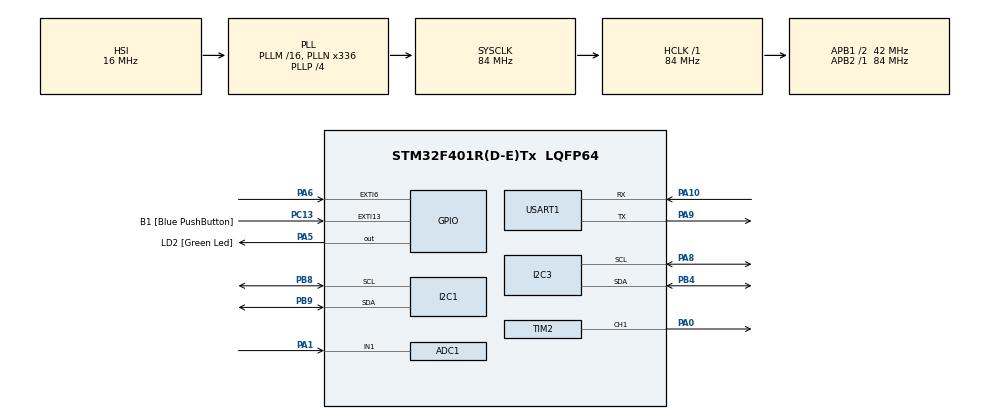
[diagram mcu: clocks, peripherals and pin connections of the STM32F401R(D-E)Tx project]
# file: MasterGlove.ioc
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ADC1.Channel-0\#ChannelRegularConversion=ADC_CHANNEL_1
ADC1.NbrOfConversionFlag=1
ADC1.Rank-0\#ChannelRegularConversion=1
ADC1.SamplingTime-0\#ChannelRegularConversion=ADC_SAMPLETIME_3CYCLES
ADC1.master=1
Mcu.Family=STM32F4
Mcu.Name=STM32F401R(D-E)Tx
Mcu.Package=LQFP64
NVIC.EXTI15_10_IRQn=true\:0\:0\:false\:false\:true\:true\:true
NVIC.EXTI9_5_IRQn=true\:0\:0\:false\:false\:true\:true\:true
NVIC.PriorityGroup=NVIC_PRIORITYGROUP_0
NVIC.TIM1_TRG_COM_TIM11_IRQn=true\:0\:0\:false\:false\:true\:true\:true
NVIC.USART1_IRQn=true\:0\:0\:false\:false\:true\:true\:true
PA0-WKUP.Signal=S_TIM2_CH1_ETR
PA1.Signal=ADCx_IN1
PA10.Mode=Asynchronous
PA10.Signal=USART1_RX
PA13.GPIO_Label=TMS
PA13.Mode=Serial_Wire
PA13.Signal=SYS_JTMS-SWDIO
PA14.GPIO_Label=TCK
PA14.Mode=Serial_Wire
PA14.Signal=SYS_JTCK-SWCLK
PA2.GPIO_Label=USART_TX
PA2.GPIO_Mode=GPIO_MODE_AF_PP
PA2.GPIO_PuPd=GPIO_NOPULL
PA2.GPIO_Speed=GPIO_SPEED_FREQ_LOW
PA2.Signal=USART2_TX
PA3.GPIO_Label=USART_RX
PA3.GPIO_Mode=GPIO_MODE_AF_PP
PA3.GPIO_PuPd=GPIO_NOPULL
PA3.GPIO_Speed=GPIO_SPEED_FREQ_LOW
PA3.Signal=USART2_RX
PA5.GPIO_Label=LD2 [Green Led]
PA5.GPIO_Mode=GPIO_MODE_OUTPUT_PP
PA5.GPIO_PuPd=GPIO_NOPULL
PA5.GPIO_Speed=GPIO_SPEED_FREQ_LOW
PA5.Signal=GPIO_Output
PA6.Signal=GPXTI6
PA8.Mode=I2C
PA8.Signal=I2C3_SCL
PA9.Mode=Asynchronous
PA9.Signal=USART1_TX
PB3.GPIO_Label=SWO
PB3.Signal=SYS_JTDO-SWO
PB4.Mode=I2C
PB4.Signal=I2C3_SDA
PB8.Mode=I2C
PB8.Signal=I2C1_SCL
PB9.Mode=I2C
PB9.Signal=I2C1_SDA
PC13-ANTI_TAMP.GPIO_Label=B1 [Blue PushButton]
PC13-ANTI_TAMP.GPIO_ModeDefaultEXTI=GPIO_MODE_IT_FALLING
PC13-ANTI_TAMP.GPIO_PuPd=GPIO_NOPULL
PC13-ANTI_TAMP.Signal=GPXTI13
PC14-OSC32_IN.Mode=LSE-External-Oscillator
PC14-OSC32_IN.Signal=RCC_OSC32_IN
PC15-OSC32_OUT.Mode=LSE-External-Oscillator
PC15-OSC32_OUT.Signal=RCC_OSC32_OUT
PH0\ -\ OSC_IN.Mode=HSE-External-Clock-Source
PH0\ -\ OSC_IN.Signal=RCC_OSC_IN
PH1\ -\ OSC_OUT.Mode=HSE-External-Clock-Source
PH1\ -\ OSC_OUT.Signal=RCC_OSC_OUT
ProjectManager.HeapSize=0x200
ProjectManager.StackSize=0x400
ProjectManager.TargetToolchain=STM32CubeIDE
RCC.48MHZClocksFreq_Value=48000000
RCC.AHBFreq_Value=84000000
RCC.APB1CLKDivider=RCC_HCLK_DIV2
RCC.APB1Freq_Value=42000000
RCC.APB1TimFreq_Value=84000000
RCC.APB2Freq_Value=84000000
RCC.APB2TimFreq_Value=84000000
RCC.CortexFreq_Value=84000000
RCC.HCLKFreq_Value=84000000
RCC.HSE_VALUE=8000000
RCC.HSI_VALUE=16000000
RCC.PLLN=336
RCC.PLLP=RCC_PLLP_DIV4
RCC.PLLQ=7
RCC.SYSCLKFreq_VALUE=84000000
RCC.SYSCLKSource=RCC_SYSCLKSOURCE_PLLCLK
RCC.VCOOutputFreq_Value=336000000
SH.ADCx_IN1.0=ADC1_IN1,IN1
SH.S_TIM2_CH1_ETR.0=TIM2_CH1,PWM Generation1 CH1
TIM11.AutoReloadPreload=TIM_AUTORELOAD_PRELOAD_ENABLE
TIM11.Period=10000
TIM11.Prescaler=839
TIM2.Channel-PWM\ Generation1\ CH1=TIM_CHANNEL_1
TIM2.Period=249
TIM2.Prescaler=83
TIM5.Channel-Output\ Compare2\ No\ Output=TIM_CHANNEL_2
TIM5.Period=1999999
TIM5.Prescaler=83
USART1.VirtualMode=VM_ASYNC
VP_TIM11_VS_ClockSourceINT.Mode=Enable_Timer
VP_TIM5_VS_no_output2.Mode=Output Compare2 No Output
board=NUCLEO-F401RE

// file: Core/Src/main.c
/* USER CODE BEGIN Header */
/**
  ******************************************************************************
  * @file           : main.c
  * @brief          : Main program body
  ******************************************************************************
  * @attention
  *
  * <h2><center>&copy; Copyright (c) 2021 STMicroelectronics.
  * All rights reserved.</center></h2>
  *
  * This software component is licensed by ST under BSD 3-Clause license,
  * the "License"; You may not use this file except in compliance with the
  * License. You may obtain a copy of the License at:
  *                        opensource.org/licenses/BSD-3-Clause
  *
  ******************************************************************************
  */
/* USER CODE END Header */
#include "main.h"

/* USER CODE BEGIN Includes */
#include "imu.h"
#include "hand_control.h"
#include "piezo.h"
#include "lcd.h"
#include "joystick.h"

/* USER CODE END Includes */

ADC_HandleTypeDef hadc1;

I2C_HandleTypeDef hi2c1;
I2C_HandleTypeDef hi2c3;

TIM_HandleTypeDef htim2;
TIM_HandleTypeDef htim5;
TIM_HandleTypeDef htim11;

UART_HandleTypeDef huart1;

void SystemClock_Config(void);
static void MX_GPIO_Init(void);
static void MX_I2C1_Init(void);
static void MX_TIM11_Init(void);
static void MX_USART1_UART_Init(void);
static void MX_TIM2_Init(void);
static void MX_I2C3_Init(void);
static void MX_TIM5_Init(void);
static void MX_ADC1_Init(void);

/* USER CODE BEGIN 0 */
IMU_DATA imu;
static char livesRemaining = '3';
static uint8_t cooldown = 0;
static uint8_t gameOver = 0;

int8_t button_val = 0;
uint8_t Rx_data[4];

// Displays current lives remaining on LCD
void displayLives() {
	lcd_clear();

	char lives[] = "...Lives";
	lcd_transmit_string(lives);

	lcd_set_cursor(0, 1);
	char remaining[] = "Remaining: ";
	lcd_transmit_string(remaining);

	lcd_set_cursor(11, 1);
	lcd_transmit_char(livesRemaining);
}

// Displays "HIT" on LCD
void displayHit() {
	lcd_clear();

	char firstLine[] = "...  You've been";
	lcd_transmit_string(firstLine);

	lcd_set_cursor(6, 1);
	char remaining[] = "hit!";
	lcd_transmit_string(remaining);
}

// Displays "GAME OVER" on LCD
void displayGameOver() {
	lcd_clear();

	char firstLine[] = "...      GAME";
	lcd_transmit_string(firstLine);

	lcd_set_cursor(6, 1);
	char remaining[] = "OVER!";
	lcd_transmit_string(remaining);
}

// Joystick Button Interrupt
void HAL_GPIO_EXTI_Callback(uint16_t pin) {
	if (pin == GPIO_PIN_6 && !cooldown && !gameOver) {
		button_val = 1;
		playFireSound();
	}
	// Blue Button For Testing
	if (pin == GPIO_PIN_13) {
		//playVictors();
		gameOver = 0;
		livesRemaining = '3';
		displayLives();
	}
}

void HAL_UART_RxCpltCallback(UART_HandleTypeDef *huart)
{
	//HAL_UART_Receive_IT(&huart1, Rx_data, 1);

	// Send to terminal for debugging
	//char buf[2];
	//HAL_UART_Transmit(&huart2, (uint8_t*)buf, sprintf(buf, "%d\r\n", Rx_data[0]), HAL_MAX_DELAY);

	// HIT ON ROBOT
	if(Rx_data[0] && !gameOver){
		// What happens when robot gets hit?

		// 0) Set cooldown bit (start TIMER)
		cooldown = 1;
		HAL_TIM_Base_Start_IT(&htim5);

		// 1) Change LCD screen to say "HIT"
		displayHit();
		--livesRemaining;

		// 2) Play hit sound
		playHitSound();

		// Check to see if game over
		if (livesRemaining == '0') {
			// Death sequence
			displayGameOver();
			playDeathSound();
			gameOver = 1;
		}
		else {
			// Display lives remaining
			displayLives();
		}
	}
}

// TIM11 CALLBACK -- for sending data
void HAL_TIM_PeriodElapsedCallback(TIM_HandleTypeDef *htim){
	// What to do when we want to send a message
	if(htim == &htim11){
		imu_read_accel(&imu);

		int16_t x = imu.ax_raw;
		int16_t y = imu.ay_raw;
		int16_t z = imu.az_raw;

		uint8_t magnitude = getMagnitude(x, y, z);
		float *direction = getDirection(x, y);

		int8_t *motor_cmds = getMotorVels(magnitude, direction);

		int8_t buf[7];

		buf[0] = button_val;
		buf[1] = motor_cmds[0] + 10;
		buf[2] = motor_cmds[1] + 10;
		buf[3] = motor_cmds[2] + 10;
		buf[4] = motor_cmds[3] + 10;
		buf[5] = cooldown;
		buf[6] = get_joystick_position();

		if (gameOver) {
			buf[0] = 0;
			buf[1] = 10;
			buf[2] = 10;
			buf[3] = 10;
			buf[4] = 10;
			buf[5] = 1;
			buf[6] = 1;
		}

		button_val = 0;
		//HAL_StatusTypeDef ret = HAL_UART_Transmit(&huart2, (uint8_t*)buf, 6, HAL_MAX_DELAY);
		HAL_StatusTypeDef ret = HAL_UART_Transmit(&huart1, (uint8_t *)buf, 7, HAL_MAX_DELAY);
		uint8_t x2 = 10;

	}
	else if (htim == &htim5) {
		cooldown = 0;
	}
}

/* USER CODE END 0 */

int main(void)
{

  /* MCU Configuration--------------------------------------------------------*/

  /* Reset of all peripherals, Initializes the Flash interface and the Systick. */
  HAL_Init();

  /* Configure the system clock */
  SystemClock_Config();

  /* Initialize all configured peripherals */
  MX_GPIO_Init();
  MX_I2C1_Init();
  MX_TIM11_Init();
  MX_USART1_UART_Init();
  MX_TIM2_Init();
  MX_I2C3_Init();
  MX_TIM5_Init();
  MX_ADC1_Init();
  /* USER CODE BEGIN 2 */
//  HAL_NVIC_SetPriority(USART1_IRQN, 0, 0);
//  HAL_NVIC_EnableIRQ(USART1_IRQN);

  // Start UART Receiving interrupt
  //HAL_UART_Receive_IT(&huart1, Rx_data, 1);

  I2C_Module i2c_mod;
  i2c_mod.instance = hi2c1;
  i2c_mod.sdaPin = GPIO_PIN_9;
  i2c_mod.sdaPort = GPIOB;
  i2c_mod.sclPin = GPIO_PIN_8;
  i2c_mod.sclPort = GPIOB;
  while (imu_init(&hi2c1) == 1) {
    I2C_ClearBusyFlagErratum(&i2c_mod);
  }
  //pass pre-calculated offsets to imu

  //imu_calibrate(503, 582, 2049); // TAPE IMU OFFSETS
  imu_calibrate(182, 2834, 851); // NON-TAPE OFFSETS

  //initialize lcd
  lcd_init(&hi2c3);
  displayLives();

  // initialize piezo buzzer
  piezo_init(&htim2);

  // initialize joystick
  joystick_init(&hadc1);

  // Start xbee sending timer
  HAL_TIM_Base_Start_IT(&htim11);
  omni_init();

  /* USER CODE END 2 */

  /* Infinite loop */
  /* USER CODE BEGIN WHILE */
  while (1)
  {
	  //printf("hello\r\n");
	  //HAL_Delay(500);
    /* USER CODE END WHILE */

  }
}

void SystemClock_Config(void)
{
  RCC_OscInitTypeDef RCC_OscInitStruct = {0};
  RCC_ClkInitTypeDef RCC_ClkInitStruct = {0};

  /** Configure the main internal regulator output voltage
  */
  __HAL_RCC_PWR_CLK_ENABLE();
  __HAL_PWR_VOLTAGESCALING_CONFIG(PWR_REGULATOR_VOLTAGE_SCALE2);
  /** Initializes the RCC Oscillators according to the specified parameters
  * in the RCC_OscInitTypeDef structure.
  */
  RCC_OscInitStruct.OscillatorType = RCC_OSCILLATORTYPE_HSI;
  RCC_OscInitStruct.HSIState = RCC_HSI_ON;
  RCC_OscInitStruct.HSICalibrationValue = RCC_HSICALIBRATION_DEFAULT;
  RCC_OscInitStruct.PLL.PLLState = RCC_PLL_ON;
  RCC_OscInitStruct.PLL.PLLSource = RCC_PLLSOURCE_HSI;
  RCC_OscInitStruct.PLL.PLLM = 16;
  RCC_OscInitStruct.PLL.PLLN = 336;
  RCC_OscInitStruct.PLL.PLLP = RCC_PLLP_DIV4;
  RCC_OscInitStruct.PLL.PLLQ = 7;
  if (HAL_RCC_OscConfig(&RCC_OscInitStruct) != HAL_OK)
  {
    Error_Handler();
  }
  /** Initializes the CPU, AHB and APB buses clocks
  */
  RCC_ClkInitStruct.ClockType = RCC_CLOCKTYPE_HCLK|RCC_CLOCKTYPE_SYSCLK
                              |RCC_CLOCKTYPE_PCLK1|RCC_CLOCKTYPE_PCLK2;
  RCC_ClkInitStruct.SYSCLKSource = RCC_SYSCLKSOURCE_PLLCLK;
  RCC_ClkInitStruct.AHBCLKDivider = RCC_SYSCLK_DIV1;
  RCC_ClkInitStruct.APB1CLKDivider = RCC_HCLK_DIV2;
  RCC_ClkInitStruct.APB2CLKDivider = RCC_HCLK_DIV1;

  if (HAL_RCC_ClockConfig(&RCC_ClkInitStruct, FLASH_LATENCY_2) != HAL_OK)
  {
    Error_Handler();
  }
}

static void MX_ADC1_Init(void)
{

  ADC_ChannelConfTypeDef sConfig = {0};

  /** Configure the global features of the ADC (Clock, Resolution, Data Alignment and number of conversion)
  */
  hadc1.Instance = ADC1;
  hadc1.Init.ClockPrescaler = ADC_CLOCK_SYNC_PCLK_DIV4;
  hadc1.Init.Resolution = ADC_RESOLUTION_12B;
  hadc1.Init.ScanConvMode = DISABLE;
  hadc1.Init.ContinuousConvMode = DISABLE;
  hadc1.Init.DiscontinuousConvMode = DISABLE;
  hadc1.Init.ExternalTrigConvEdge = ADC_EXTERNALTRIGCONVEDGE_NONE;
  hadc1.Init.ExternalTrigConv = ADC_SOFTWARE_START;
  hadc1.Init.DataAlign = ADC_DATAALIGN_RIGHT;
  hadc1.Init.NbrOfConversion = 1;
  hadc1.Init.DMAContinuousRequests = DISABLE;
  hadc1.Init.EOCSelection = ADC_EOC_SINGLE_CONV;
  if (HAL_ADC_Init(&hadc1) != HAL_OK)
  {
    Error_Handler();
  }
  /** Configure for the selected ADC regular channel its corresponding rank in the sequencer and its sample time.
  */
  sConfig.Channel = ADC_CHANNEL_1;
  sConfig.Rank = 1;
  sConfig.SamplingTime = ADC_SAMPLETIME_3CYCLES;
  if (HAL_ADC_ConfigChannel(&hadc1, &sConfig) != HAL_OK)
  {
    Error_Handler();
  }

}

static void MX_I2C1_Init(void)
{

  hi2c1.Instance = I2C1;
  hi2c1.Init.ClockSpeed = 100000;
  hi2c1.Init.DutyCycle = I2C_DUTYCYCLE_2;
  hi2c1.Init.OwnAddress1 = 0;
  hi2c1.Init.AddressingMode = I2C_ADDRESSINGMODE_7BIT;
  hi2c1.Init.DualAddressMode = I2C_DUALADDRESS_DISABLE;
  hi2c1.Init.OwnAddress2 = 0;
  hi2c1.Init.GeneralCallMode = I2C_GENERALCALL_DISABLE;
  hi2c1.Init.NoStretchMode = I2C_NOSTRETCH_DISABLE;
  if (HAL_I2C_Init(&hi2c1) != HAL_OK)
  {
    Error_Handler();
  }

}

static void MX_I2C3_Init(void)
{

  hi2c3.Instance = I2C3;
  hi2c3.Init.ClockSpeed = 100000;
  hi2c3.Init.DutyCycle = I2C_DUTYCYCLE_2;
  hi2c3.Init.OwnAddress1 = 0;
  hi2c3.Init.AddressingMode = I2C_ADDRESSINGMODE_7BIT;
  hi2c3.Init.DualAddressMode = I2C_DUALADDRESS_DISABLE;
  hi2c3.Init.OwnAddress2 = 0;
  hi2c3.Init.GeneralCallMode = I2C_GENERALCALL_DISABLE;
  hi2c3.Init.NoStretchMode = I2C_NOSTRETCH_DISABLE;
  if (HAL_I2C_Init(&hi2c3) != HAL_OK)
  {
    Error_Handler();
  }

}

static void MX_TIM2_Init(void)
{

  TIM_MasterConfigTypeDef sMasterConfig = {0};
  TIM_OC_InitTypeDef sConfigOC = {0};

  htim2.Instance = TIM2;
  htim2.Init.Prescaler = 83;
  htim2.Init.CounterMode = TIM_COUNTERMODE_UP;
  htim2.Init.Period = 249;
  htim2.Init.ClockDivision = TIM_CLOCKDIVISION_DIV1;
  htim2.Init.AutoReloadPreload = TIM_AUTORELOAD_PRELOAD_DISABLE;
  if (HAL_TIM_PWM_Init(&htim2) != HAL_OK)
  {
    Error_Handler();
  }
  sMasterConfig.MasterOutputTrigger = TIM_TRGO_RESET;
  sMasterConfig.MasterSlaveMode = TIM_MASTERSLAVEMODE_DISABLE;
  if (HAL_TIMEx_MasterConfigSynchronization(&htim2, &sMasterConfig) != HAL_OK)
  {
    Error_Handler();
  }
  sConfigOC.OCMode = TIM_OCMODE_PWM1;
  sConfigOC.Pulse = 0;
  sConfigOC.OCPolarity = TIM_OCPOLARITY_HIGH;
  sConfigOC.OCFastMode = TIM_OCFAST_DISABLE;
  if (HAL_TIM_PWM_ConfigChannel(&htim2, &sConfigOC, TIM_CHANNEL_1) != HAL_OK)
  {
    Error_Handler();
  }
  HAL_TIM_MspPostInit(&htim2);

}

static void MX_TIM5_Init(void)
{

  TIM_MasterConfigTypeDef sMasterConfig = {0};
  TIM_OC_InitTypeDef sConfigOC = {0};

  htim5.Instance = TIM5;
  htim5.Init.Prescaler = 83;
  htim5.Init.CounterMode = TIM_COUNTERMODE_UP;
  htim5.Init.Period = 1999999;
  htim5.Init.ClockDivision = TIM_CLOCKDIVISION_DIV1;
  htim5.Init.AutoReloadPreload = TIM_AUTORELOAD_PRELOAD_DISABLE;
  if (HAL_TIM_OC_Init(&htim5) != HAL_OK)
  {
    Error_Handler();
  }
  sMasterConfig.MasterOutputTrigger = TIM_TRGO_RESET;
  sMasterConfig.MasterSlaveMode = TIM_MASTERSLAVEMODE_DISABLE;
  if (HAL_TIMEx_MasterConfigSynchronization(&htim5, &sMasterConfig) != HAL_OK)
  {
    Error_Handler();
  }
  sConfigOC.OCMode = TIM_OCMODE_TIMING;
  sConfigOC.Pulse = 0;
  sConfigOC.OCPolarity = TIM_OCPOLARITY_HIGH;
  sConfigOC.OCFastMode = TIM_OCFAST_DISABLE;
  if (HAL_TIM_OC_ConfigChannel(&htim5, &sConfigOC, TIM_CHANNEL_2) != HAL_OK)
  {
    Error_Handler();
  }

}

static void MX_TIM11_Init(void)
{

  htim11.Instance = TIM11;
  htim11.Init.Prescaler = 839;
  htim11.Init.CounterMode = TIM_COUNTERMODE_UP;
  htim11.Init.Period = 10000;
  htim11.Init.ClockDivision = TIM_CLOCKDIVISION_DIV1;
  htim11.Init.AutoReloadPreload = TIM_AUTORELOAD_PRELOAD_ENABLE;
  if (HAL_TIM_Base_Init(&htim11) != HAL_OK)
  {
    Error_Handler();
  }

}

static void MX_USART1_UART_Init(void)
{

  huart1.Instance = USART1;
  huart1.Init.BaudRate = 115200;
  huart1.Init.WordLength = UART_WORDLENGTH_8B;
  huart1.Init.StopBits = UART_STOPBITS_1;
  huart1.Init.Parity = UART_PARITY_NONE;
  huart1.Init.Mode = UART_MODE_TX_RX;
  huart1.Init.HwFlowCtl = UART_HWCONTROL_NONE;
  huart1.Init.OverSampling = UART_OVERSAMPLING_16;
  if (HAL_UART_Init(&huart1) != HAL_OK)
  {
    Error_Handler();
  }

}

static void MX_GPIO_Init(void)
{
  GPIO_InitTypeDef GPIO_InitStruct = {0};

  /* GPIO Ports Clock Enable */
  __HAL_RCC_GPIOC_CLK_ENABLE();
  __HAL_RCC_GPIOH_CLK_ENABLE();
  __HAL_RCC_GPIOA_CLK_ENABLE();
  __HAL_RCC_GPIOB_CLK_ENABLE();

  /*Configure GPIO pin Output Level */
  HAL_GPIO_WritePin(LD2_GPIO_Port, LD2_Pin, GPIO_PIN_RESET);

  /*Configure GPIO pin : B1_Pin */
  GPIO_InitStruct.Pin = B1_Pin;
  GPIO_InitStruct.Mode = GPIO_MODE_IT_FALLING;
  GPIO_InitStruct.Pull = GPIO_NOPULL;
  HAL_GPIO_Init(B1_GPIO_Port, &GPIO_InitStruct);

  /*Configure GPIO pins : USART_TX_Pin USART_RX_Pin */
  GPIO_InitStruct.Pin = USART_TX_Pin|USART_RX_Pin;
  GPIO_InitStruct.Mode = GPIO_MODE_AF_PP;
  GPIO_InitStruct.Pull = GPIO_NOPULL;
  GPIO_InitStruct.Speed = GPIO_SPEED_FREQ_LOW;
  GPIO_InitStruct.Alternate = GPIO_AF7_USART2;
  HAL_GPIO_Init(GPIOA, &GPIO_InitStruct);

  /*Configure GPIO pin : LD2_Pin */
  GPIO_InitStruct.Pin = LD2_Pin;
  GPIO_InitStruct.Mode = GPIO_MODE_OUTPUT_PP;
  GPIO_InitStruct.Pull = GPIO_NOPULL;
  GPIO_InitStruct.Speed = GPIO_SPEED_FREQ_LOW;
  HAL_GPIO_Init(LD2_GPIO_Port, &GPIO_InitStruct);

  /*Configure GPIO pin : PA6 */
  GPIO_InitStruct.Pin = GPIO_PIN_6;
  GPIO_InitStruct.Mode = GPIO_MODE_IT_RISING;
  GPIO_InitStruct.Pull = GPIO_NOPULL;
  HAL_GPIO_Init(GPIOA, &GPIO_InitStruct);

  /* EXTI interrupt init*/
  HAL_NVIC_SetPriority(EXTI9_5_IRQn, 0, 0);
  HAL_NVIC_EnableIRQ(EXTI9_5_IRQn);

  HAL_NVIC_SetPriority(EXTI15_10_IRQn, 0, 0);
  HAL_NVIC_EnableIRQ(EXTI15_10_IRQn);

}

/* USER CODE BEGIN 4 */
#ifdef __GNUC__
#define PUTCHAR_PROTOTYPE int __io_putchar(int ch)
#else
  #define PUTCHAR_PROTOTYPE int fputc(int ch, FILE *f)
#endif /* __GNUC__ */
PUTCHAR_PROTOTYPE
{
  HAL_UART_Transmit(&huart1, (uint8_t *)&ch, 1, 0xFFFF);
  return ch;
}

/* USER CODE END 4 */

void Error_Handler(void)
{
  __disable_irq();
  while (1)
  {
  }
}

/************************ (C) COPYRIGHT STMicroelectronics *****END OF FILE****/
